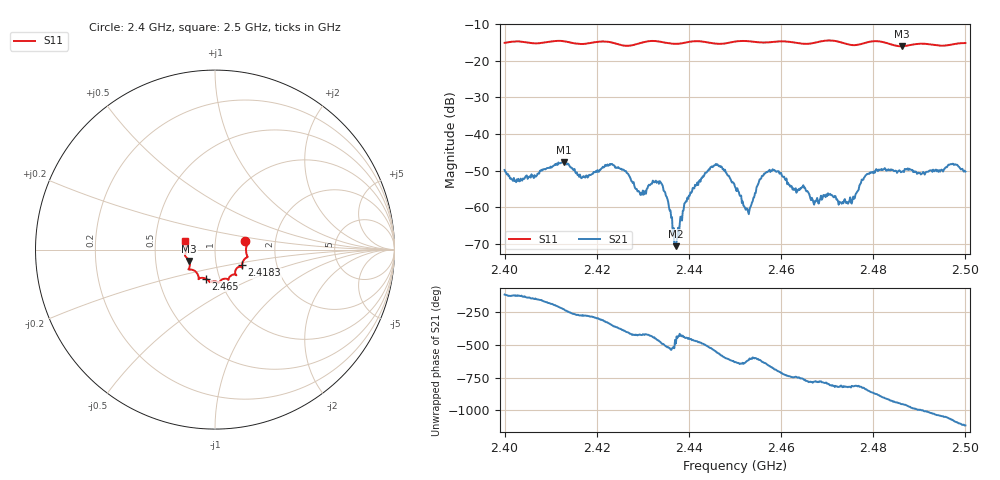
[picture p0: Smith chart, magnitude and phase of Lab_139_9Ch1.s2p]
# Hz S RI R 50
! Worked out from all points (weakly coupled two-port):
!   601 points, 2.4 GHz to 2.5 GHz, reference 50 ohm
!   highest |S21| = -47.67 dB at 2.4128 GHz (marker M1); lowest = -70.6 dB at 2.4372 GHz (marker M2)
!   lowest |S11| = -16.1 dB at 2.4862 GHz (marker M3), VSWR 1.37, Z = 37.1 - j4.81 ohm
!   |S11| at or under -10 dB: start of sweep to end of sweep
!   S12 and S22 are empty: the file has one direction only
!   S11 on the Smith chart (normalised r, x): 2.4 GHz: 1.40, +0.13; 2.4183 GHz: 1.33, -0.24; 2.465 GHz: 0.86, -0.29; 2.5 GHz: 0.71, +0.07
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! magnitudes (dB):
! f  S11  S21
! 2.4 GHz  -15.1  -49.8
! 2.4028 GHz  -14.7  -52.7
! 2.4128 GHz  -14.7  -47.7
! 2.4167 GHz  -15.4  -52.1
! 2.4183 GHz  -15.2  -51.1
! 2.4233 GHz  -15.1  -48.2
! 2.4293 GHz  -15.2  -56.0
! 2.4333 GHz  -14.7  -52.9
! 2.4352 GHz  -15.1  -57.1
! 2.4372 GHz  -15.4  -70.6
! 2.4395 GHz  -15.0  -58.4
! 2.4445 GHz  -15.1  -49.7
! 2.45 GHz  -14.8  -54.4
! 2.4527 GHz  -14.6  -60.4
! 2.457 GHz  -15.0  -50.4
! 2.465 GHz  -15.4  -54.7
! 2.4667 GHz  -15.3  -57.4
! 2.4748 GHz  -15.6  -58.2
! 2.4785 GHz  -15.0  -51.1
! 2.4833 GHz  -15.3  -49.6
! 2.4862 GHz  -16.1  -50.3
! 2.5 GHz  -15.2  -50.2
